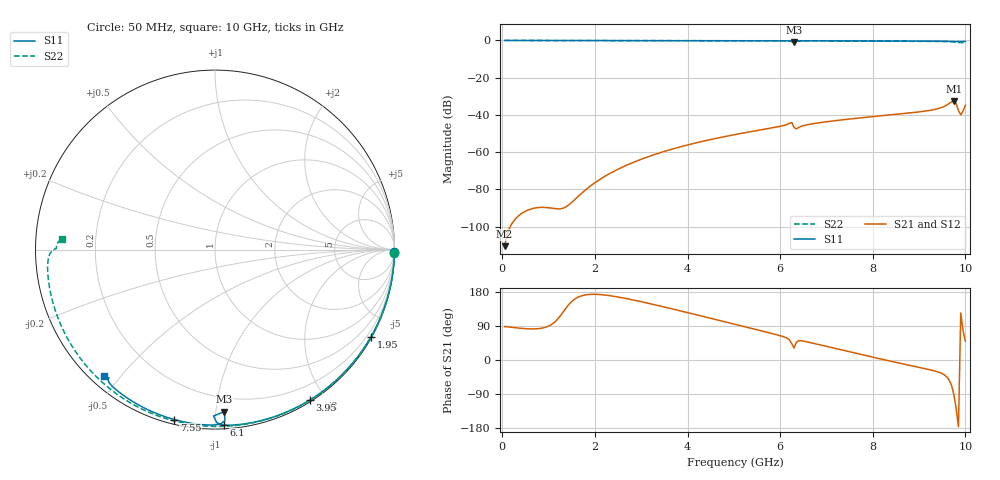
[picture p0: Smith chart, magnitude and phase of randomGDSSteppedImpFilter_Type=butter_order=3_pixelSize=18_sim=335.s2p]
! freq	dB(S11)	phase(S11)	dB(S12)	phase(S12)
!  dB(S21)	phase(S21)	dB(S22)	phase(S22)
!S-par simulation data
#  GHz  S  DB  R 50
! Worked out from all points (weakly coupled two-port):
!   200 points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, 50 MHz to 10 GHz, reference 50 ohm
!   highest |S21| = -32.60 dB at 9.75 GHz (marker M1); lowest = -110.6 dB at 50 MHz (marker M2)
!   lowest |S11| = -0.9 dB at 6.3 GHz (marker M3), VSWR 19.91, Z = 5.32 - j52.7 ohm
!   |S11| at or under -10 dB: nowhere
!   |S22| runs from -1.4 to 0.0 dB; largest |S21 - S12| = 0
!   S11 on the Smith chart (normalised r, x): 50 MHz: open; 1.95 GHz: 0.03, -3.83; 3.95 GHz: 0.02, -1.81; 6.1 GHz: 0.02, -1.05; 7.55 GHz: 0.02, -0.79; 10 GHz: 0.04, -0.45
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0.05  -0.00 -0.8  -110.57 88.2  -110.57 88.2  -0.00 -1.1
0.85  -0.02 -12.9  -89.71 83.9  -89.71 83.9  -0.02 -17.8
1.75  -0.03 -26.3  -81.32 170.7  -81.32 170.7  -0.05 -36.2
1.95  -0.04 -29.3  -77.35 173.4  -77.35 173.4  -0.05 -40.2
2.6  -0.05 -38.8  -68.01 164.0  -68.01 164.0  -0.07 -53.1
3.4  -0.07 -50.2  -60.42 142.7  -60.42 142.7  -0.09 -68.3
3.95  -0.08 -57.8  -56.50 126.5  -56.50 126.5  -0.11 -78.5
5.05  -0.11 -72.6  -50.46 93.4  -50.46 93.4  -0.15 -98.0
6.1  -0.19 -87.1  -45.54 60.2  -45.54 60.2  -0.20 -115.8
6.25  -0.66 -90.5  -44.13 42.9  -44.13 42.9  -0.21 -118.3
6.3  -0.87 -86.7  -46.76 31.7  -46.76 31.7  -0.22 -119.1
6.35  -0.41 -86.7  -47.57 46.8  -47.57 46.8  -0.22 -120.0
6.7  -0.19 -92.8  -44.79 44.5  -44.79 44.5  -0.24 -125.7
7.55  -0.23 -103.4  -42.09 20.1  -42.09 20.1  -0.31 -139.7
8.35  -0.29 -112.9  -40.06 -2.2  -40.06 -2.2  -0.38 -152.9
9.3  -0.38 -124.0  -37.27 -27.7  -37.27 -27.7  -0.50 -169.6
9.5  -0.41 -126.5  -35.89 -36.0  -35.89 -36.0  -0.55 -173.6
9.75  -0.60 -129.7  -32.60 -90.3  -32.60 -90.3  -0.87 -179.8
9.8  -0.67 -129.6  -33.90 -127.6  -33.90 -127.6  -1.04 179.7
9.85  -0.63 -129.6  -37.63 -176.0  -37.63 -176.0  -1.07 179.5
9.9  -0.58 -130.0  -40.03 124.0  -40.03 124.0  -1.08 178.5
10  -0.55 -131.2  -34.82 49.6  -34.82 49.6  -1.35 176.0
